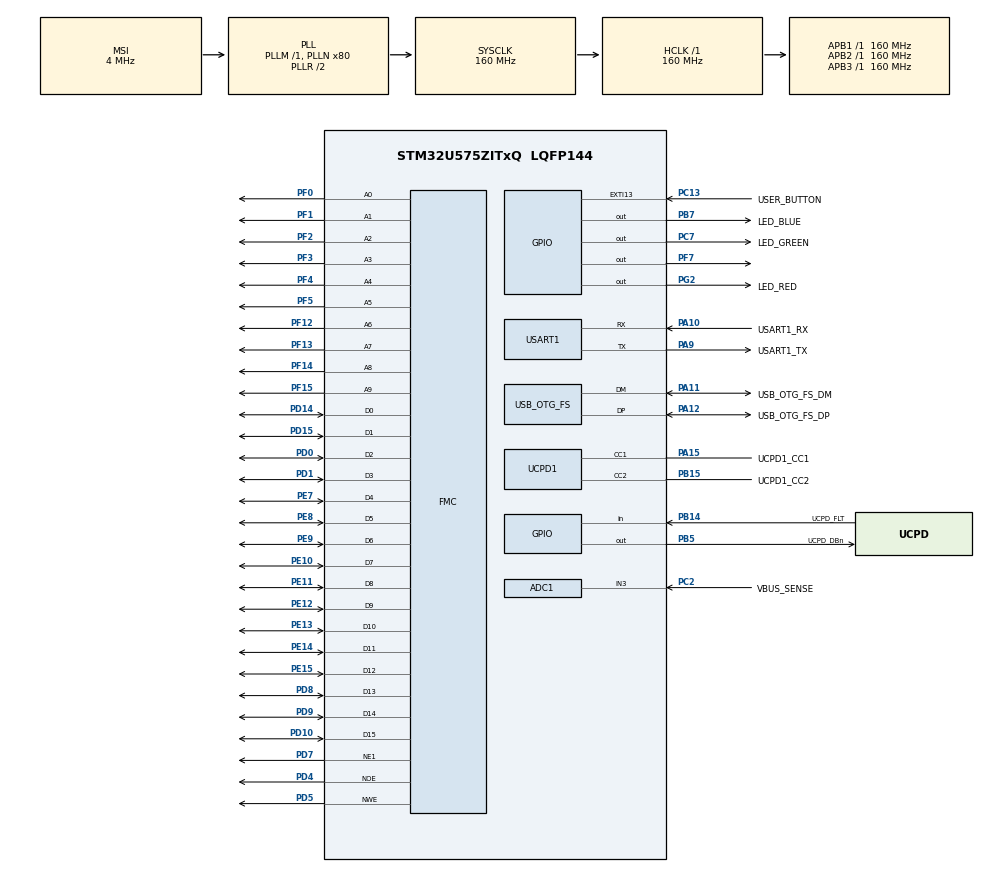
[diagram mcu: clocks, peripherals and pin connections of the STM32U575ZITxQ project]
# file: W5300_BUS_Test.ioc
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ADC1.NbrOfConversion=1
ADC1.Resolution=ADC_RESOLUTION_14B
ADC1.master=1
CORTEX_M33_NS.userName=CORTEX_M33
FMC.WriteOperation1=FMC_WRITE_OPERATION_ENABLE
Mcu.Family=STM32U5
Mcu.Name=STM32U575ZITxQ
Mcu.Package=LQFP144
NVIC.OTG_FS_IRQn=true\:0\:0\:false\:false\:true\:true\:true\:true
NVIC.PriorityGroup=NVIC_PRIORITYGROUP_3
PA10.GPIO_Label=USART1_RX
PA10.GPIO_PuPd=GPIO_PULLDOWN
PA10.GPIO_Speed=GPIO_SPEED_FREQ_VERY_HIGH
PA10.Mode=Asynchronous
PA10.Signal=USART1_RX
PA11.GPIO_Label=USB_OTG_FS_DM
PA11.GPIO_Speed=GPIO_SPEED_FREQ_VERY_HIGH
PA11.Mode=Device_Only
PA11.Signal=USB_OTG_FS_DM
PA12.GPIO_Label=USB_OTG_FS_DP
PA12.GPIO_Speed=GPIO_SPEED_FREQ_VERY_HIGH
PA12.Mode=Device_Only
PA12.Signal=USB_OTG_FS_DP
PA13\ (JTMS/SWDIO).Mode=Trace_Asynchronous_SW
PA13\ (JTMS/SWDIO).Signal=DEBUG_JTMS-SWDIO
PA14\ (JTCK/SWCLK).Mode=Trace_Asynchronous_SW
PA14\ (JTCK/SWCLK).Signal=DEBUG_JTCK-SWCLK
PA15\ (JTDI).GPIO_Label=UCPD1_CC1
PA15\ (JTDI).Mode=Sink_AllSignals
PA15\ (JTDI).Signal=UCPD1_CC1
PA9.GPIO_Label=USART1_TX
PA9.GPIO_PuPd=GPIO_PULLDOWN
PA9.GPIO_Speed=GPIO_SPEED_FREQ_VERY_HIGH
PA9.Mode=Asynchronous
PA9.Signal=USART1_TX
PB14.GPIO_Label=UCPD_FLT
PB14.Signal=GPIO_Input
PB15.GPIO_Label=UCPD1_CC2
PB15.Mode=Sink_AllSignals
PB15.Signal=UCPD1_CC2
PB3\ (JTDO/TRACESWO).Mode=Trace_Asynchronous_SW
PB3\ (JTDO/TRACESWO).Signal=DEBUG_JTDO-SWO
PB5.GPIO_Label=UCPD_DBn
PB5.Signal=GPIO_Output
PB7.GPIO_Label=LED_BLUE
PB7.GPIO_ModeDefaultOutputPP=GPIO_MODE_OUTPUT_PP
PB7.GPIO_PuPd=GPIO_PULLUP
PB7.GPIO_Speed=GPIO_SPEED_FREQ_HIGH
PB7.Signal=GPIO_Output
PC13.GPIO_Label=USER_BUTTON
PC13.GPIO_ModeDefaultEXTI=GPIO_MODE_IT_FALLING
PC13.Signal=GPXTI13
PC14-OSC32_IN\ (PC14).Mode=LSE-External-Oscillator
PC14-OSC32_IN\ (PC14).Signal=RCC_OSC32_IN
PC15-OSC32_OUT\ (PC15).Mode=LSE-External-Oscillator
PC15-OSC32_OUT\ (PC15).Signal=RCC_OSC32_OUT
PC2.GPIO_Label=VBUS_SENSE
PC2.Mode=IN3-Single-Ended
PC2.Signal=ADC1_IN3
PC7.GPIO_Label=LED_GREEN
PC7.GPIO_PuPd=GPIO_PULLUP
PC7.GPIO_Speed=GPIO_SPEED_FREQ_HIGH
PC7.Signal=GPIO_Output
PD0.Signal=FMC_D2_DA2
PD1.Signal=FMC_D3_DA3
PD10.Signal=FMC_D15_DA15
PD14.Signal=FMC_D0_DA0
PD15.Signal=FMC_D1_DA1
PD4.Signal=FMC_NOE
PD5.Signal=FMC_NWE
PD7.Mode=NorPsramChipSelect1_1
PD7.Signal=FMC_NE1
PD8.Signal=FMC_D13_DA13
PD9.Signal=FMC_D14_DA14
PE10.Signal=FMC_D7_DA7
PE11.Signal=FMC_D8_DA8
PE12.Signal=FMC_D9_DA9
PE13.Signal=FMC_D10_DA10
PE14.Signal=FMC_D11_DA11
PE15.Signal=FMC_D12_DA12
PE7.Signal=FMC_D4_DA4
PE8.Signal=FMC_D5_DA5
PE9.Signal=FMC_D6_DA6
PF0.Signal=FMC_A0
PF1.Signal=FMC_A1
PF12.Signal=FMC_A6
PF13.Signal=FMC_A7
PF14.Signal=FMC_A8
PF15.Signal=FMC_A9
PF2.Signal=FMC_A2
PF3.Signal=FMC_A3
PF4.Signal=FMC_A4
PF5.Signal=FMC_A5
PF7.Signal=GPIO_Output
PG2.GPIO_Label=LED_RED
PG2.GPIO_ModeDefaultOutputPP=GPIO_MODE_OUTPUT_PP
PG2.GPIO_PuPd=GPIO_PULLUP
PG2.GPIO_Speed=GPIO_SPEED_FREQ_HIGH
PG2.Signal=GPIO_Output
PWR.PowerMode=PWR_SMPS_SUPPLY
ProjectManager.HeapSize=0x200
ProjectManager.StackSize=0x400
ProjectManager.TargetToolchain=STM32CubeIDE
RCC.ADCFreq_Value=16000000
RCC.AHBFreq_Value=160000000
RCC.APB1Freq_Value=160000000
RCC.APB1TimFreq_Value=160000000
RCC.APB2Freq_Value=160000000
RCC.APB2TimFreq_Value=160000000
RCC.APB3Freq_Value=160000000
RCC.CortexFreq_Value=160000000
RCC.DACCLockSelectionVirtual=RCC_DAC1CLKSOURCE_LSI
RCC.DACCLockSelectionVirtualString=RCC_DAC1CLKSOURCE_LSI
RCC.EPOD_VALUE=4000000
RCC.HCLKFreq_Value=160000000
RCC.HSE_VALUE=16000000
RCC.HSI48_VALUE=48000000
RCC.HSI_VALUE=16000000
RCC.LSIDIV_VALUE=32000
RCC.MSI_VALUE=4000000
RCC.PLLN=80
RCC.SYSCLKFreq_VALUE=160000000
RCC.SYSCLKSource=RCC_SYSCLKSOURCE_PLLCLK
RCC.USBFreq_Value=48000000
RCC.VCOOutputFreq_Value=320000000
SH.FMC_A0.0=FMC_A0,10b-a1
SH.FMC_A1.0=FMC_A1,10b-a1
SH.FMC_A2.0=FMC_A2,10b-a1
SH.FMC_A3.0=FMC_A3,10b-a1
SH.FMC_A4.0=FMC_A4,10b-a1
SH.FMC_A5.0=FMC_A5,10b-a1
SH.FMC_A6.0=FMC_A6,10b-a1
SH.FMC_A7.0=FMC_A7,10b-a1
SH.FMC_A8.0=FMC_A8,10b-a1
SH.FMC_A9.0=FMC_A9,10b-a1
SH.FMC_D0_DA0.0=FMC_D0,16b-d1
SH.FMC_D10_DA10.0=FMC_D10,16b-d1
SH.FMC_D11_DA11.0=FMC_D11,16b-d1
SH.FMC_D12_DA12.0=FMC_D12,16b-d1
SH.FMC_D13_DA13.0=FMC_D13,16b-d1
SH.FMC_D14_DA14.0=FMC_D14,16b-d1
SH.FMC_D15_DA15.0=FMC_D15,16b-d1
SH.FMC_D1_DA1.0=FMC_D1,16b-d1
SH.FMC_D2_DA2.0=FMC_D2,16b-d1
SH.FMC_D3_DA3.0=FMC_D3,16b-d1
SH.FMC_D4_DA4.0=FMC_D4,16b-d1
SH.FMC_D5_DA5.0=FMC_D5,16b-d1
SH.FMC_D6_DA6.0=FMC_D6,16b-d1
SH.FMC_D7_DA7.0=FMC_D7,16b-d1
SH.FMC_D8_DA8.0=FMC_D8,16b-d1
SH.FMC_D9_DA9.0=FMC_D9,16b-d1
SH.FMC_NOE.0=FMC_NOE,Sram1
SH.FMC_NWE.0=FMC_NWE,Sram1
USART1.VirtualMode-Asynchronous=VM_ASYNC
USB_OTG_FS.VirtualMode=Device_Only
VP_LPBAMQUEUE_VS_QUEUE.Mode=QUEUEMODE
VP_LPBAM_VS_SIG1.Mode=SmartRun
VP_LPBAM_VS_SIG4.Mode=LPDMA1
VP_PWR_VS_DBSignals.Mode=DisableDeadBatterySignals
VP_PWR_VS_LPOM.Mode=PowerOptimisation
VP_PWR_VS_SECSignals.Mode=Security/Privilege
board=NUCLEO-U575ZI-Q

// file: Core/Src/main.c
/* USER CODE BEGIN Header */
/**
  ******************************************************************************
  * @file           : main.c
  * @brief          : Main program body
  ******************************************************************************
  * @attention
  *
  * Copyright (c) 2022 STMicroelectronics.
  * All rights reserved.
  *
  * This software is licensed under terms that can be found in the LICENSE file
  * in the root directory of this software component.
  * If no LICENSE file comes with this software, it is provided AS-IS.
  *
  ******************************************************************************
  */
/* USER CODE END Header */
#include "main.h"

/* USER CODE BEGIN Includes */
#include "socket.h"
#include "wizchip_conf.h"
#include "w5300.h"
/* USER CODE END Includes */

/* USER CODE BEGIN PTD */
#define _USE_W5300_OPTIMIZE				1

#define W5300_BANK_ADDR                 ((uint32_t)0x60000000)//((uint32_t)0x64000000)
#define _W5300_DATA(p)                  (*(volatile unsigned short*) (W5300_BANK_ADDR + (p<<1)))

#define RESET_W5300_GPIO_Port			GPIOF
#define RESET_W5300_Pin					GPIO_PIN_7

#define true					1
#define false					0

#define SOCK_TCPS       0
#define SOCK_UDPS       1
#define PORT_TCPS		5000
#define PORT_UDPS       3000
/* USER CODE END PTD */

ADC_HandleTypeDef hadc1;

UART_HandleTypeDef huart1;

PCD_HandleTypeDef hpcd_USB_OTG_FS;

SRAM_HandleTypeDef hsram1;

/* USER CODE BEGIN PV */
uint8_t wiznet_memsize[2][8] = {{8,8,8,8,8,8,8,8}, {8,8,8,8,8,8,8,8}};

#define ETH_MAX_BUF_SIZE		2048

uint8_t ethBuf0[ETH_MAX_BUF_SIZE];

wiz_NetInfo gWIZNETINFO = {
		.mac = {0x00, 0x08, 0xdc, 0, 0, 0},
		.ip = {192, 168, 15, 111},
		.sn = {255, 255, 255, 0},
		.gw = {192, 168, 15, 1},
		.dns = {0, 0, 0, 0},
		.dhcp = NETINFO_STATIC
};

/* USER CODE END PV */

void SystemClock_Config(void);
static void SystemPower_Config(void);
static void MX_GPIO_Init(void);
static void MX_ADC1_Init(void);
static void MX_UCPD1_Init(void);
static void MX_USART1_UART_Init(void);
static void MX_USB_OTG_FS_PCD_Init(void);
static void MX_FMC_Init(void);
/* USER CODE BEGIN PFP */
uint8_t rxData[2];

int _write(int fd, char *str, int len)
{
	for(int i=0; i<len; i++)
	{
		HAL_UART_Transmit(&huart1, (uint8_t *)&str[i], 1, 0xFFFF);
	}
	return len;
}

void HAL_UART_RxCpltCallback(UART_HandleTypeDef *huart) {

    /*
        This will be called once data is received successfully,
        via interrupts.
    */

     /*
       loop back received data
     */
     HAL_UART_Receive_IT(&huart1, rxData, 1);
     HAL_UART_Transmit(&huart1, rxData, 1, 1000);
}

void Reset_W5300()
{
	HAL_GPIO_WritePin(RESET_W5300_GPIO_Port, RESET_W5300_Pin, GPIO_PIN_RESET);
	HAL_Delay(10);
	HAL_GPIO_WritePin(RESET_W5300_GPIO_Port, RESET_W5300_Pin, GPIO_PIN_SET);
	HAL_Delay(100);
}

void W5300_write(uint32_t addr, iodata_t wd)
{
	_W5300_DATA(addr) = wd;
}

iodata_t W5300_read(uint32_t addr)
{
	return _W5300_DATA(addr);
}
void W5300CsEnable(void)
{

}
void W5300CsDisable(void)
{

}
void print_network_information(void)
{
    wizchip_getnetinfo(&gWIZNETINFO);
    printf("Mac address: %02x:%02x:%02x:%02x:%02x:%02x\n\r",gWIZNETINFO.mac[0],gWIZNETINFO.mac[1],gWIZNETINFO.mac[2],gWIZNETINFO.mac[3],gWIZNETINFO.mac[4],gWIZNETINFO.mac[5]);
    printf("IP address : %d.%d.%d.%d\n\r",gWIZNETINFO.ip[0],gWIZNETINFO.ip[1],gWIZNETINFO.ip[2],gWIZNETINFO.ip[3]);
    printf("SM Mask    : %d.%d.%d.%d\n\r",gWIZNETINFO.sn[0],gWIZNETINFO.sn[1],gWIZNETINFO.sn[2],gWIZNETINFO.sn[3]);
    printf("Gate way   : %d.%d.%d.%d\n\r",gWIZNETINFO.gw[0],gWIZNETINFO.gw[1],gWIZNETINFO.gw[2],gWIZNETINFO.gw[3]);
    printf("DNS Server : %d.%d.%d.%d\n\r",gWIZNETINFO.dns[0],gWIZNETINFO.dns[1],gWIZNETINFO.dns[2],gWIZNETINFO.dns[3]);
}

void _InitW5300(void)
{
	unsigned int tmpaddr[4];

	Reset_W5300();
	reg_wizchip_bus_cbfunc(W5300_read, W5300_write);
	reg_wizchip_cs_cbfunc(W5300CsEnable, W5300CsDisable);
	printf("getMR() = %04X\r\n", getMR());

	if (ctlwizchip(CW_INIT_WIZCHIP, (void*)wiznet_memsize) == -1)
	{
		printf("W5300 memory initialization failed\r\n");
	}

	ctlnetwork(CN_SET_NETINFO, (void *)&gWIZNETINFO);
	print_network_information();
}
/* USER CODE END PFP */

int main(void)
{

  /* MCU Configuration--------------------------------------------------------*/

  /* Reset of all peripherals, Initializes the Flash interface and the Systick. */
  HAL_Init();

  /* Configure the system clock */
  SystemClock_Config();

  /* Configure the System Power */
  SystemPower_Config();

  /* Initialize all configured peripherals */
  MX_GPIO_Init();
  MX_ADC1_Init();
  MX_UCPD1_Init();
  MX_USART1_UART_Init();
  MX_USB_OTG_FS_PCD_Init();
  MX_FMC_Init();
  /* USER CODE BEGIN 2 */
  printf("Hello! W5300 BUS loopback System \r\n");
  HAL_UART_Receive_IT(&huart1, rxData, 1);
  _InitW5300();
  /* USER CODE END 2 */

  /* Infinite loop */
  /* USER CODE BEGIN WHILE */
  while (1)
  {
	  loopback_tcps(0, ethBuf0, 3000);
    /* USER CODE END WHILE */

  }
}

void SystemClock_Config(void)
{
  RCC_OscInitTypeDef RCC_OscInitStruct = {0};
  RCC_ClkInitTypeDef RCC_ClkInitStruct = {0};

  /** Configure the main internal regulator output voltage
  */
  if (HAL_PWREx_ControlVoltageScaling(PWR_REGULATOR_VOLTAGE_SCALE1) != HAL_OK)
  {
    Error_Handler();
  }

  /** Initializes the CPU, AHB and APB buses clocks
  */
  RCC_OscInitStruct.OscillatorType = RCC_OSCILLATORTYPE_HSI48|RCC_OSCILLATORTYPE_HSI
                              |RCC_OSCILLATORTYPE_MSI;
  RCC_OscInitStruct.HSIState = RCC_HSI_ON;
  RCC_OscInitStruct.HSI48State = RCC_HSI48_ON;
  RCC_OscInitStruct.HSICalibrationValue = RCC_HSICALIBRATION_DEFAULT;
  RCC_OscInitStruct.MSIState = RCC_MSI_ON;
  RCC_OscInitStruct.MSICalibrationValue = RCC_MSICALIBRATION_DEFAULT;
  RCC_OscInitStruct.MSIClockRange = RCC_MSIRANGE_4;
  RCC_OscInitStruct.PLL.PLLState = RCC_PLL_ON;
  RCC_OscInitStruct.PLL.PLLSource = RCC_PLLSOURCE_MSI;
  RCC_OscInitStruct.PLL.PLLMBOOST = RCC_PLLMBOOST_DIV1;
  RCC_OscInitStruct.PLL.PLLM = 1;
  RCC_OscInitStruct.PLL.PLLN = 80;
  RCC_OscInitStruct.PLL.PLLP = 2;
  RCC_OscInitStruct.PLL.PLLQ = 2;
  RCC_OscInitStruct.PLL.PLLR = 2;
  RCC_OscInitStruct.PLL.PLLRGE = RCC_PLLVCIRANGE_0;
  RCC_OscInitStruct.PLL.PLLFRACN = 0;
  if (HAL_RCC_OscConfig(&RCC_OscInitStruct) != HAL_OK)
  {
    Error_Handler();
  }

  /** Initializes the CPU, AHB and APB buses clocks
  */
  RCC_ClkInitStruct.ClockType = RCC_CLOCKTYPE_HCLK|RCC_CLOCKTYPE_SYSCLK
                              |RCC_CLOCKTYPE_PCLK1|RCC_CLOCKTYPE_PCLK2
                              |RCC_CLOCKTYPE_PCLK3;
  RCC_ClkInitStruct.SYSCLKSource = RCC_SYSCLKSOURCE_PLLCLK;
  RCC_ClkInitStruct.AHBCLKDivider = RCC_SYSCLK_DIV1;
  RCC_ClkInitStruct.APB1CLKDivider = RCC_HCLK_DIV1;
  RCC_ClkInitStruct.APB2CLKDivider = RCC_HCLK_DIV1;
  RCC_ClkInitStruct.APB3CLKDivider = RCC_HCLK_DIV1;

  if (HAL_RCC_ClockConfig(&RCC_ClkInitStruct, FLASH_LATENCY_4) != HAL_OK)
  {
    Error_Handler();
  }
}

/**
  * @brief Power Configuration
  * @retval None
  */
static void SystemPower_Config(void)
{
  HAL_PWREx_EnableVddIO2();

  /*
   * Switch to SMPS regulator instead of LDO
   */
  if (HAL_PWREx_ConfigSupply(PWR_SMPS_SUPPLY) != HAL_OK)
  {
    Error_Handler();
  }
}

static void MX_ADC1_Init(void)
{

  /** Common config
  */
  hadc1.Instance = ADC1;
  hadc1.Init.ClockPrescaler = ADC_CLOCK_ASYNC_DIV1;
  hadc1.Init.Resolution = ADC_RESOLUTION_14B;
  hadc1.Init.GainCompensation = 0;
  hadc1.Init.ScanConvMode = ADC_SCAN_DISABLE;
  hadc1.Init.EOCSelection = ADC_EOC_SINGLE_CONV;
  hadc1.Init.LowPowerAutoWait = DISABLE;
  hadc1.Init.ContinuousConvMode = DISABLE;
  hadc1.Init.NbrOfConversion = 1;
  hadc1.Init.DiscontinuousConvMode = DISABLE;
  hadc1.Init.DMAContinuousRequests = DISABLE;
  hadc1.Init.TriggerFrequencyMode = ADC_TRIGGER_FREQ_HIGH;
  hadc1.Init.Overrun = ADC_OVR_DATA_PRESERVED;
  hadc1.Init.LeftBitShift = ADC_LEFTBITSHIFT_NONE;
  hadc1.Init.ConversionDataManagement = ADC_CONVERSIONDATA_DR;
  hadc1.Init.OversamplingMode = DISABLE;
  if (HAL_ADC_Init(&hadc1) != HAL_OK)
  {
    Error_Handler();
  }

}

static void MX_UCPD1_Init(void)
{

  LL_GPIO_InitTypeDef GPIO_InitStruct = {0};

  /* Peripheral clock enable */
  LL_APB1_GRP2_EnableClock(LL_APB1_GRP2_PERIPH_UCPD1);

  LL_AHB2_GRP1_EnableClock(LL_AHB2_GRP1_PERIPH_GPIOB);
  LL_AHB2_GRP1_EnableClock(LL_AHB2_GRP1_PERIPH_GPIOA);
  /**UCPD1 GPIO Configuration
  PB15   ------> UCPD1_CC2
  PA15 (JTDI)   ------> UCPD1_CC1
  */
  GPIO_InitStruct.Pin = LL_GPIO_PIN_15;
  GPIO_InitStruct.Mode = LL_GPIO_MODE_ANALOG;
  GPIO_InitStruct.Pull = LL_GPIO_PULL_NO;
  LL_GPIO_Init(GPIOB, &GPIO_InitStruct);

  GPIO_InitStruct.Pin = LL_GPIO_PIN_15;
  GPIO_InitStruct.Mode = LL_GPIO_MODE_ANALOG;
  GPIO_InitStruct.Pull = LL_GPIO_PULL_NO;
  LL_GPIO_Init(GPIOA, &GPIO_InitStruct);

}

static void MX_USART1_UART_Init(void)
{

  huart1.Instance = USART1;
  huart1.Init.BaudRate = 115200;
  huart1.Init.WordLength = UART_WORDLENGTH_8B;
  huart1.Init.StopBits = UART_STOPBITS_1;
  huart1.Init.Parity = UART_PARITY_NONE;
  huart1.Init.Mode = UART_MODE_TX_RX;
  huart1.Init.HwFlowCtl = UART_HWCONTROL_NONE;
  huart1.Init.OverSampling = UART_OVERSAMPLING_16;
  huart1.Init.OneBitSampling = UART_ONE_BIT_SAMPLE_DISABLE;
  huart1.Init.ClockPrescaler = UART_PRESCALER_DIV1;
  huart1.AdvancedInit.AdvFeatureInit = UART_ADVFEATURE_NO_INIT;
  if (HAL_UART_Init(&huart1) != HAL_OK)
  {
    Error_Handler();
  }
  if (HAL_UARTEx_SetTxFifoThreshold(&huart1, UART_TXFIFO_THRESHOLD_1_8) != HAL_OK)
  {
    Error_Handler();
  }
  if (HAL_UARTEx_SetRxFifoThreshold(&huart1, UART_RXFIFO_THRESHOLD_1_8) != HAL_OK)
  {
    Error_Handler();
  }
  if (HAL_UARTEx_DisableFifoMode(&huart1) != HAL_OK)
  {
    Error_Handler();
  }

}

static void MX_USB_OTG_FS_PCD_Init(void)
{

  hpcd_USB_OTG_FS.Instance = USB_OTG_FS;
  hpcd_USB_OTG_FS.Init.dev_endpoints = 6;
  hpcd_USB_OTG_FS.Init.phy_itface = PCD_PHY_EMBEDDED;
  hpcd_USB_OTG_FS.Init.Sof_enable = DISABLE;
  hpcd_USB_OTG_FS.Init.low_power_enable = DISABLE;
  hpcd_USB_OTG_FS.Init.lpm_enable = DISABLE;
  hpcd_USB_OTG_FS.Init.battery_charging_enable = DISABLE;
  hpcd_USB_OTG_FS.Init.use_dedicated_ep1 = DISABLE;
  hpcd_USB_OTG_FS.Init.vbus_sensing_enable = DISABLE;
  if (HAL_PCD_Init(&hpcd_USB_OTG_FS) != HAL_OK)
  {
    Error_Handler();
  }

}

/* FMC initialization function */
static void MX_FMC_Init(void)
{

  FMC_NORSRAM_TimingTypeDef Timing = {0};

  /** Perform the SRAM1 memory initialization sequence
  */
  hsram1.Instance = FMC_NORSRAM_DEVICE;
  hsram1.Extended = FMC_NORSRAM_EXTENDED_DEVICE;
  /* hsram1.Init */
  hsram1.Init.NSBank = FMC_NORSRAM_BANK1;
  hsram1.Init.DataAddressMux = FMC_DATA_ADDRESS_MUX_DISABLE;
  hsram1.Init.MemoryType = FMC_MEMORY_TYPE_SRAM;
  hsram1.Init.MemoryDataWidth = FMC_NORSRAM_MEM_BUS_WIDTH_16;
  hsram1.Init.BurstAccessMode = FMC_BURST_ACCESS_MODE_DISABLE;
  hsram1.Init.WaitSignalPolarity = FMC_WAIT_SIGNAL_POLARITY_LOW;
  hsram1.Init.WaitSignalActive = FMC_WAIT_TIMING_BEFORE_WS;
  hsram1.Init.WriteOperation = FMC_WRITE_OPERATION_ENABLE;
  hsram1.Init.WaitSignal = FMC_WAIT_SIGNAL_DISABLE;
  hsram1.Init.ExtendedMode = FMC_EXTENDED_MODE_DISABLE;
  hsram1.Init.AsynchronousWait = FMC_ASYNCHRONOUS_WAIT_DISABLE;
  hsram1.Init.WriteBurst = FMC_WRITE_BURST_DISABLE;
  hsram1.Init.ContinuousClock = FMC_CONTINUOUS_CLOCK_SYNC_ONLY;
  hsram1.Init.WriteFifo = FMC_WRITE_FIFO_ENABLE;
  hsram1.Init.NBLSetupTime = 0;
  hsram1.Init.PageSize = FMC_PAGE_SIZE_NONE;
  hsram1.Init.MaxChipSelectPulse = DISABLE;
  /* Timing */
  Timing.AddressSetupTime = 15;
  Timing.AddressHoldTime = 15;
  Timing.DataSetupTime = 255;
  Timing.DataHoldTime = 0;
  Timing.BusTurnAroundDuration = 15;
  Timing.CLKDivision = 16;
  Timing.DataLatency = 17;
  Timing.AccessMode = FMC_ACCESS_MODE_A;
  /* ExtTiming */

  if (HAL_SRAM_Init(&hsram1, &Timing, NULL) != HAL_OK)
  {
    Error_Handler( );
  }

}

static void MX_GPIO_Init(void)
{
  GPIO_InitTypeDef GPIO_InitStruct = {0};

  /* GPIO Ports Clock Enable */
  __HAL_RCC_GPIOC_CLK_ENABLE();
  __HAL_RCC_GPIOF_CLK_ENABLE();
  __HAL_RCC_GPIOE_CLK_ENABLE();
  __HAL_RCC_GPIOB_CLK_ENABLE();
  __HAL_RCC_GPIOD_CLK_ENABLE();
  __HAL_RCC_GPIOG_CLK_ENABLE();
  __HAL_RCC_GPIOA_CLK_ENABLE();

  /*Configure GPIO pin Output Level */
  HAL_GPIO_WritePin(GPIOF, GPIO_PIN_7, GPIO_PIN_RESET);

  /*Configure GPIO pin Output Level */
  HAL_GPIO_WritePin(LED_RED_GPIO_Port, LED_RED_Pin, GPIO_PIN_RESET);

  /*Configure GPIO pin Output Level */
  HAL_GPIO_WritePin(LED_GREEN_GPIO_Port, LED_GREEN_Pin, GPIO_PIN_RESET);

  /*Configure GPIO pin Output Level */
  HAL_GPIO_WritePin(GPIOB, UCPD_DBn_Pin|LED_BLUE_Pin, GPIO_PIN_RESET);

  /*Configure GPIO pin : USER_BUTTON_Pin */
  GPIO_InitStruct.Pin = USER_BUTTON_Pin;
  GPIO_InitStruct.Mode = GPIO_MODE_IT_FALLING;
  GPIO_InitStruct.Pull = GPIO_NOPULL;
  HAL_GPIO_Init(USER_BUTTON_GPIO_Port, &GPIO_InitStruct);

  /*Configure GPIO pin : PF7 */
  GPIO_InitStruct.Pin = GPIO_PIN_7;
  GPIO_InitStruct.Mode = GPIO_MODE_OUTPUT_PP;
  GPIO_InitStruct.Pull = GPIO_NOPULL;
  GPIO_InitStruct.Speed = GPIO_SPEED_FREQ_LOW;
  HAL_GPIO_Init(GPIOF, &GPIO_InitStruct);

  /*Configure GPIO pin : UCPD_FLT_Pin */
  GPIO_InitStruct.Pin = UCPD_FLT_Pin;
  GPIO_InitStruct.Mode = GPIO_MODE_INPUT;
  GPIO_InitStruct.Pull = GPIO_NOPULL;
  HAL_GPIO_Init(UCPD_FLT_GPIO_Port, &GPIO_InitStruct);

  /*Configure GPIO pin : LED_RED_Pin */
  GPIO_InitStruct.Pin = LED_RED_Pin;
  GPIO_InitStruct.Mode = GPIO_MODE_OUTPUT_PP;
  GPIO_InitStruct.Pull = GPIO_PULLUP;
  GPIO_InitStruct.Speed = GPIO_SPEED_FREQ_HIGH;
  HAL_GPIO_Init(LED_RED_GPIO_Port, &GPIO_InitStruct);

  /*Configure GPIO pin : LED_GREEN_Pin */
  GPIO_InitStruct.Pin = LED_GREEN_Pin;
  GPIO_InitStruct.Mode = GPIO_MODE_OUTPUT_PP;
  GPIO_InitStruct.Pull = GPIO_PULLUP;
  GPIO_InitStruct.Speed = GPIO_SPEED_FREQ_HIGH;
  HAL_GPIO_Init(LED_GREEN_GPIO_Port, &GPIO_InitStruct);

  /*Configure GPIO pin : UCPD_DBn_Pin */
  GPIO_InitStruct.Pin = UCPD_DBn_Pin;
  GPIO_InitStruct.Mode = GPIO_MODE_OUTPUT_PP;
  GPIO_InitStruct.Pull = GPIO_NOPULL;
  GPIO_InitStruct.Speed = GPIO_SPEED_FREQ_LOW;
  HAL_GPIO_Init(UCPD_DBn_GPIO_Port, &GPIO_InitStruct);

  /*Configure GPIO pin : LED_BLUE_Pin */
  GPIO_InitStruct.Pin = LED_BLUE_Pin;
  GPIO_InitStruct.Mode = GPIO_MODE_OUTPUT_PP;
  GPIO_InitStruct.Pull = GPIO_PULLUP;
  GPIO_InitStruct.Speed = GPIO_SPEED_FREQ_HIGH;
  HAL_GPIO_Init(LED_BLUE_GPIO_Port, &GPIO_InitStruct);

}

void Error_Handler(void)
{
  __disable_irq();
  while (1)
  {
  }
}
